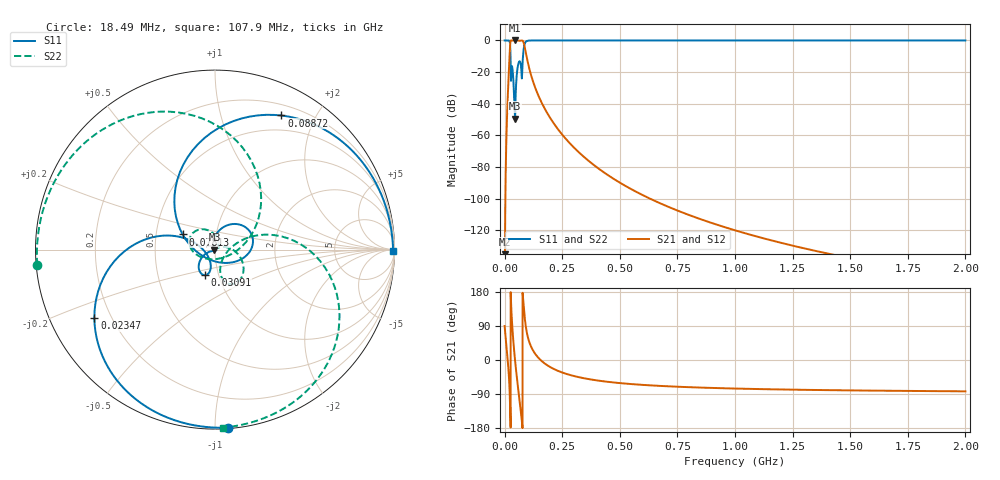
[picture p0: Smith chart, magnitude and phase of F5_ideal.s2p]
! Created with skrf 2.2.0 (http://scikit-rf.org).
# MHz S RI R 50.0
! Port[1] = P1
! Port[2] = P2
!freq ReS11 ImS11 ReS21 ImS21 ReS12 ImS12 ReS22 ImS22
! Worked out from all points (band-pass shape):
!   2001 points, 50 kHz to 2 GHz, reference 50 ohm
!   highest |S21| = 0.00 dB at 45.51 MHz (marker M1); lowest = -198.8 dB at 336.8 kHz (marker M2)
!   |S21| within 3 dB of the highest: 23.88 MHz to 85.59 MHz (61.71 MHz wide, 113 % of centre)
!   lowest |S11| = -49.3 dB at 45.51 MHz (marker M3), VSWR 1.01, Z = 49.7 - j0.0803 ohm
!   |S11| at or under -10 dB: 25.75 MHz to 79.8 MHz (54.05 MHz wide, 102 % of centre)
!   |S22| runs from -49.3 to 0.0 dB; largest |S21 - S12| = 1.6e-15
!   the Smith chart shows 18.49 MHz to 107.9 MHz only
!   S11 on the Smith chart (normalised r, x): 18.49 MHz: 0.01, -1.07; 23.47 MHz: 0.14, -0.26; 30.91 MHz: 0.86, -0.25; 78.13 MHz: 0.69, +0.12; 88.72 MHz: 0.32, +1.56; 107.9 MHz: open
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0.05  1 -0.00314  4.9e-17 8.29e-15  4.9e-17 8.29e-15  1 -0.00867
0.2934364  0.9998 -0.0184  2e-12 5.77e-11  2e-12 5.77e-11  0.9987 -0.0509
0.3367757  0.9998 -0.0212  4.57e-12 1.15e-10  4.57e-12 1.15e-10  0.9983 -0.0584
1.712999  0.9942 -0.1076  7.88e-08 3.84e-07  7.88e-08 3.84e-07  0.9564 -0.2922
5.102338  0.9476 -0.3195  5.28e-05 7.74e-05  5.28e-05 7.74e-05  0.6432 -0.7657
10  0.7864 -0.6178  0.00271 0.00117  0.00271 0.00117  -0.0878 -0.9961
18.48926  0.0708 -0.9917  0.0813 -0.0694  0.0813 -0.0694  -0.9905 -0.0861
20.99637  -0.3433 -0.8988  0.0948 -0.2557  0.0948 -0.2557  -0.8463 0.4576
23.46745  -0.6721 -0.382  -0.2605 -0.5783  -0.2605 -0.5783  -0.1593 0.7565
26.64959  -0.1434 0.0534  -0.9818 0.1126  -0.9818 0.1126  0.1518 0.0195
30.91145  -0.0576 -0.1423  -0.3833 0.9108  -0.3833 0.9108  -0.142 0.0583
36.42934  -0.0722 -0.0426  0.4774 0.8747  0.4774 0.8747  -0.00321 0.0838
45.50872  -0.00331 -0.000808  0.9995 -0.0316  0.9995 -0.0316  0.00326 -0.00102
58.68728  0.0962 0.1422  0.2568 -0.9511  0.2568 -0.9511  0.1546 -0.0745
68.43431  0.2019 0.00366  -0.5497 -0.8106  -0.5497 -0.8106  0.0713 -0.189
78.12673  -0.1803 0.0843  -0.979 0.0444  -0.979 0.0444  0.1872 0.0677
88.72058  0.37 0.7472  -0.1366 0.5349  -0.1366 0.5349  0.683 -0.4783
107.935  0.9924 -0.00724  0.0854 0.0886  0.0854 0.0886  0.0439 -0.9914
172.0494  0.4182 -0.9083  0.00741 -0.00108  0.00741 -0.00108  -0.6593 -0.7519
342.5997  -0.4833 -0.8754  0.000144 -0.00016  0.000144 -0.00016  -0.9201 -0.3918
416.7975  -0.6337 -0.7736  4.57e-05 -6.59e-05  4.57e-05 -6.59e-05  -0.9464 -0.323
2000  -0.9824 -0.1869  4e-09 -3.11e-08  4e-09 -3.11e-08  -0.9977 -0.0677
